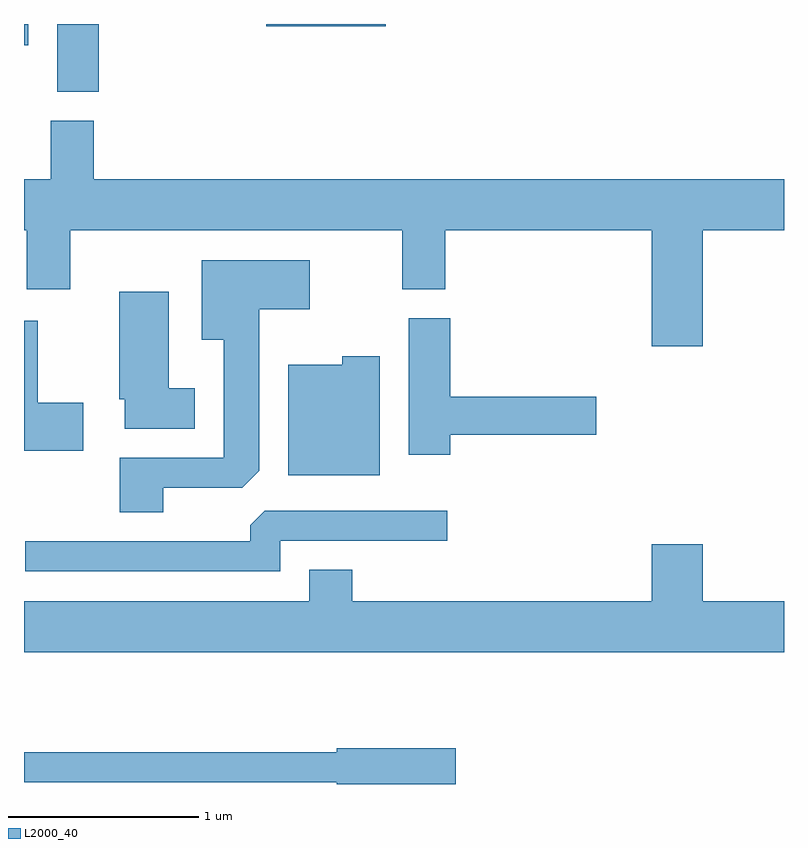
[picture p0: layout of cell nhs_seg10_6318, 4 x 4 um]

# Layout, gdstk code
import gdstk
lib = gdstk.Library(unit=1e-6, precision=1e-09)
def R(c, l, rs):  # rectangles x0, y0, x1, y1
    for r in rs: c.add(gdstk.rectangle(r[:2], r[2:], *l))
def P(c, l, *ps):  # polygons
    for p in ps: c.add(gdstk.Polygon(p, *l))
L2000_40 = (2000, 40)

nhs_seg10_6318 = lib.new_cell('nhs_seg10_6318')
R(nhs_seg10_6318, L2000_40, [(371.786,2150.166,372.004,2150.522), (371.611,2150.411,371.634,2150.522), (372.886,2150.511,373.514,2150.522)])
P(nhs_seg10_6318, L2000_40, [(375.184,2149.436),(375.611,2149.436),(375.611,2149.704),(371.979,2149.704),(371.979,2150.014),(371.751,2150.014),(371.751,2149.704),(371.611,2149.704),(371.611,2149.436),(371.626,2149.436),(371.626,2149.126),(371.854,2149.126),(371.854,2149.436),(373.601,2149.436),(373.601,2149.126),(373.829,2149.126),(373.829,2149.436),(374.916,2149.436),(374.916,2148.826),(375.184,2148.826)],
  [(372.344,2148.081),(372.759,2148.081),(372.849,2148.172),(372.849,2149.021),(373.114,2149.021),(373.114,2149.279),(372.546,2149.279),(372.546,2148.861),(372.661,2148.861),(372.661,2148.239),(372.116,2148.239),(372.116,2147.951),(372.344,2147.951)],
  [(372.509,2148.604),(372.374,2148.604),(372.374,2149.114),(372.111,2149.114),(372.111,2148.546),(372.141,2148.546),(372.141,2148.391),(372.509,2148.391)],
  [(373.854,2148.361),(374.624,2148.361),(374.624,2148.559),(373.854,2148.559),(373.854,2148.974),(373.636,2148.974),(373.636,2148.256),(373.854,2148.256)],
  [(371.924,2148.529),(371.684,2148.529),(371.684,2148.959),(371.611,2148.959),(371.611,2148.276),(371.924,2148.276)],
  [(373.484,2148.774),(373.286,2148.774),(373.286,2148.729),(373.001,2148.729),(373.001,2148.146),(373.484,2148.146)],
  [(372.959,2147.801),(373.838,2147.801),(373.838,2147.959),(372.877,2147.959),(372.801,2147.884),(372.801,2147.799),(371.618,2147.799),(371.618,2147.641),(372.959,2147.641)],
  [(375.611,2147.484),(375.184,2147.484),(375.184,2147.784),(374.916,2147.784),(374.916,2147.484),(373.339,2147.484),(373.339,2147.649),(373.111,2147.649),(373.111,2147.484),(371.611,2147.484),(371.611,2147.216),(375.611,2147.216)],
  [(373.884,2146.709),(373.256,2146.709),(373.256,2146.689),(371.611,2146.689),(371.611,2146.531),(373.256,2146.531),(373.256,2146.522),(373.884,2146.522)])

lib.write_gds('nhs_seg10_6318.gds')
